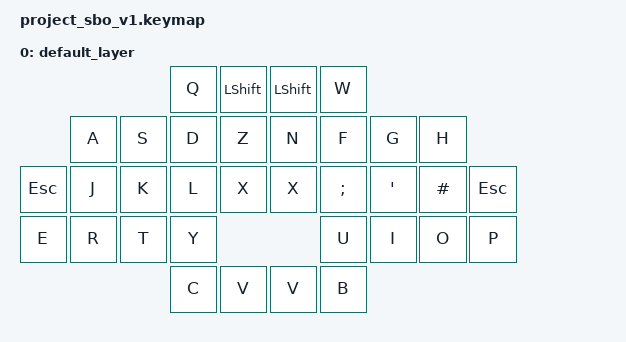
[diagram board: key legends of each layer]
#include <behaviors.dtsi>
#include <dt-bindings/zmk/keys.h>

/ {
    keymap {
        compatible = "zmk,keymap";

        default_layer {
// --------------------------------------------------------------------------------------------------------------------------------------------------------------------
//                               |    Q    |                   |    W    |
//           |    A    |    S    |    D    |  SHIFT  |  SHIFT  |    F    |    G    |    H    |
// |   ESC   |    J    |    K    |    L    |    Z    |    N    |    ;    |    '    |    #    |   ESC   |
// |    E    |    R    |    T    |    Y    |    X    |    X    |    U    |    I    |    O    |    P    |
//                               |    C    |    V    |    V    |    B    |
            bindings = <
                                    &kp Q  &kp LSHIFT &kp LSHIFT  &kp W
                &kp A     &kp S     &kp D     &kp Z      &kp N    &kp F     &kp G     &kp H
     &kp ESC    &kp J     &kp K     &kp L     &kp X      &kp X   &kp SEMI   &kp SQT  &kp HASH  &kp ESC
     &kp E      &kp R     &kp T     &kp Y                         &kp U     &kp I     &kp O     &kp P
                                    &kp C     &kp V      &kp V    &kp B
            >;
        };
    };
};
